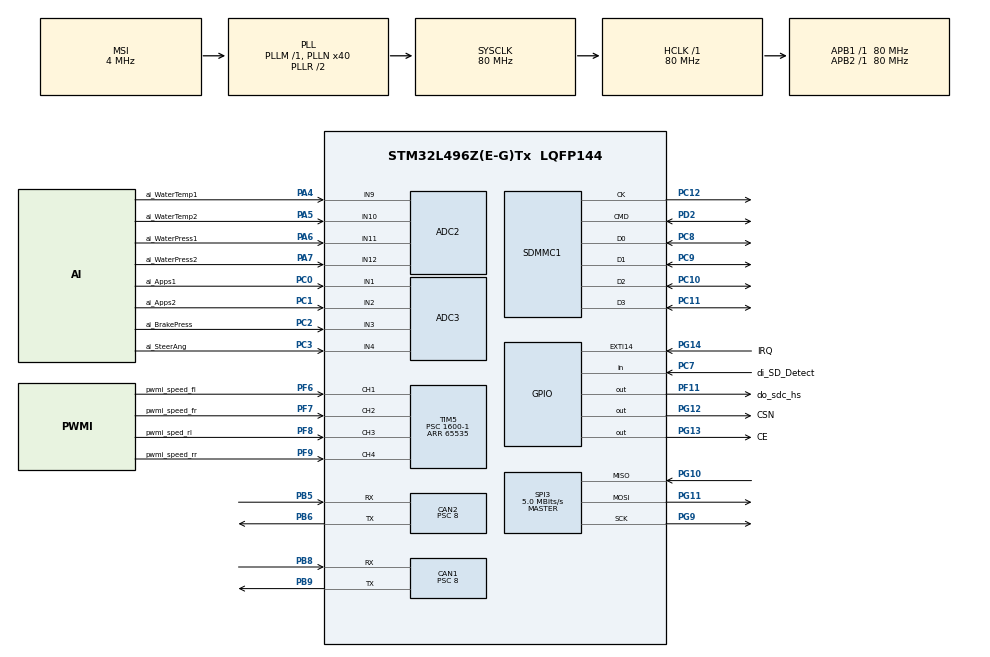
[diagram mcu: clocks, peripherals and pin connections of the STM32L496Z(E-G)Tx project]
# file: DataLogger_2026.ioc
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ADC2.Channel-0\#ChannelRegularConversion=ADC_CHANNEL_9
ADC2.Channel-1\#ChannelRegularConversion=ADC_CHANNEL_9
ADC2.Channel-2\#ChannelRegularConversion=ADC_CHANNEL_9
ADC2.Channel-3\#ChannelRegularConversion=ADC_CHANNEL_9
ADC2.ClockPrescaler=ADC_CLOCK_ASYNC_DIV2
ADC2.DMAContinuousRequests=ENABLE
ADC2.ExternalTrigConv=ADC_EXTERNALTRIG_T2_TRGO
ADC2.NbrOfConversion=4
ADC2.NbrOfConversionFlag=1
ADC2.OffsetNumber-0\#ChannelRegularConversion=ADC_OFFSET_NONE
ADC2.OffsetNumber-1\#ChannelRegularConversion=ADC_OFFSET_NONE
ADC2.OffsetNumber-2\#ChannelRegularConversion=ADC_OFFSET_NONE
ADC2.OffsetNumber-3\#ChannelRegularConversion=ADC_OFFSET_NONE
ADC2.Rank-0\#ChannelRegularConversion=1
ADC2.Rank-1\#ChannelRegularConversion=2
ADC2.Rank-2\#ChannelRegularConversion=3
ADC2.Rank-3\#ChannelRegularConversion=4
ADC2.SamplingTime-0\#ChannelRegularConversion=ADC_SAMPLETIME_2CYCLES_5
ADC2.SamplingTime-1\#ChannelRegularConversion=ADC_SAMPLETIME_2CYCLES_5
ADC2.SamplingTime-2\#ChannelRegularConversion=ADC_SAMPLETIME_2CYCLES_5
ADC2.SamplingTime-3\#ChannelRegularConversion=ADC_SAMPLETIME_2CYCLES_5
ADC3.Channel-0\#ChannelRegularConversion=ADC_CHANNEL_1
ADC3.Channel-1\#ChannelRegularConversion=ADC_CHANNEL_1
ADC3.Channel-2\#ChannelRegularConversion=ADC_CHANNEL_1
ADC3.Channel-3\#ChannelRegularConversion=ADC_CHANNEL_1
ADC3.ClockPrescaler=ADC_CLOCK_ASYNC_DIV2
ADC3.DMAContinuousRequests=ENABLE
ADC3.ExternalTrigConv=ADC_EXTERNALTRIG_T2_TRGO
ADC3.NbrOfConversion=4
ADC3.NbrOfConversionFlag=1
ADC3.OffsetNumber-0\#ChannelRegularConversion=ADC_OFFSET_NONE
ADC3.OffsetNumber-1\#ChannelRegularConversion=ADC_OFFSET_NONE
ADC3.OffsetNumber-2\#ChannelRegularConversion=ADC_OFFSET_NONE
ADC3.OffsetNumber-3\#ChannelRegularConversion=ADC_OFFSET_NONE
ADC3.Rank-0\#ChannelRegularConversion=1
ADC3.Rank-1\#ChannelRegularConversion=2
ADC3.Rank-2\#ChannelRegularConversion=3
ADC3.Rank-3\#ChannelRegularConversion=4
ADC3.SamplingTime-0\#ChannelRegularConversion=ADC_SAMPLETIME_2CYCLES_5
ADC3.SamplingTime-1\#ChannelRegularConversion=ADC_SAMPLETIME_2CYCLES_5
ADC3.SamplingTime-2\#ChannelRegularConversion=ADC_SAMPLETIME_2CYCLES_5
ADC3.SamplingTime-3\#ChannelRegularConversion=ADC_SAMPLETIME_2CYCLES_5
CAN1.BS1=CAN_BS1_11TQ
CAN1.BS2=CAN_BS2_8TQ
CAN1.CalculateBaudRate=500000
CAN1.CalculateTimeBit=2000
CAN1.CalculateTimeQuantum=100.0
CAN1.Prescaler=8
CAN2.BS1=CAN_BS1_11TQ
CAN2.BS2=CAN_BS2_8TQ
CAN2.CalculateBaudRate=500000
CAN2.CalculateTimeBit=2000
CAN2.CalculateTimeQuantum=100.0
CAN2.Prescaler=8
Dma.ADC2.0.Direction=DMA_PERIPH_TO_MEMORY
Dma.ADC2.0.Instance=DMA1_Channel2
Dma.ADC2.0.MemDataAlignment=DMA_MDATAALIGN_WORD
Dma.ADC2.0.MemInc=DMA_MINC_ENABLE
Dma.ADC2.0.Mode=DMA_CIRCULAR
Dma.ADC2.0.PeriphDataAlignment=DMA_PDATAALIGN_WORD
Dma.ADC2.0.PeriphInc=DMA_PINC_DISABLE
Dma.ADC2.0.Priority=DMA_PRIORITY_LOW
Dma.ADC3.1.Direction=DMA_PERIPH_TO_MEMORY
Dma.ADC3.1.Instance=DMA1_Channel3
Dma.ADC3.1.MemDataAlignment=DMA_MDATAALIGN_WORD
Dma.ADC3.1.MemInc=DMA_MINC_ENABLE
Dma.ADC3.1.Mode=DMA_NORMAL
Dma.ADC3.1.PeriphDataAlignment=DMA_PDATAALIGN_WORD
Dma.ADC3.1.PeriphInc=DMA_PINC_DISABLE
Dma.ADC3.1.Priority=DMA_PRIORITY_LOW
Dma.Request0=ADC2
Dma.Request1=ADC3
FATFS.BSP.number=1
FATFS._MAX_SS=4096
FATFS._MIN_SS=512
FATFS0.BSP.STBoard=false
FATFS0.BSP.api=Unknown
FATFS0.BSP.instance=PC7
FATFS0.BSP.ip=GPIO
FATFS0.BSP.mode=Input
FATFS0.BSP.name=Detect_SDIO
FATFS0.BSP.solution=PC7
FREERTOS.Tasks01=defaultTask,24,128,StartDefaultTask,Default,NULL,Dynamic,NULL,NULL
FREERTOS.configUSE_NEWLIB_REENTRANT=1
Mcu.Family=STM32L4
Mcu.Name=STM32L496Z(E-G)Tx
Mcu.Package=LQFP144
NVIC.CAN1_RX0_IRQn=true\:5\:0\:false\:false\:true\:true\:true\:true\:true
NVIC.CAN2_RX1_IRQn=true\:5\:0\:false\:false\:true\:true\:true\:true\:true
NVIC.DMA1_Channel2_IRQn=true\:5\:0\:false\:false\:true\:true\:false\:true\:true
NVIC.DMA1_Channel3_IRQn=true\:5\:0\:false\:false\:true\:true\:false\:true\:true
NVIC.EXTI15_10_IRQn=true\:5\:0\:false\:false\:true\:true\:true\:true\:true
NVIC.PriorityGroup=NVIC_PRIORITYGROUP_4
NVIC.TIM1_BRK_TIM15_IRQn=true\:5\:0\:false\:false\:true\:true\:true\:true\:true
NVIC.TIM5_IRQn=true\:5\:0\:false\:false\:true\:true\:true\:true\:true
NVIC.TIM8_UP_IRQn=true\:5\:0\:false\:false\:true\:true\:true\:true\:true
PA13\ (JTMS/SWDIO).Mode=Serial_Wire
PA13\ (JTMS/SWDIO).Signal=SYS_JTMS-SWDIO
PA14\ (JTCK/SWCLK).Mode=Serial_Wire
PA14\ (JTCK/SWCLK).Signal=SYS_JTCK-SWCLK
PA4.GPIO_Label=ai_WaterTemp1
PA4.Signal=ADCx_IN9
PA5.GPIO_Label=ai_WaterTemp2
PA5.Signal=ADCx_IN10
PA6.GPIO_Label=ai_WaterPress1
PA6.Signal=ADCx_IN11
PA7.GPIO_Label=ai_WaterPress2
PA7.Signal=ADCx_IN12
PB5.Mode=CAN_Activate
PB5.Signal=CAN2_RX
PB6.Mode=CAN_Activate
PB6.Signal=CAN2_TX
PB8.Mode=CAN_Activate
PB8.Signal=CAN1_RX
PB9.Mode=CAN_Activate
PB9.Signal=CAN1_TX
PC0.GPIO_Label=ai_Apps1
PC0.Signal=ADCx_IN1
PC1.GPIO_Label=ai_Apps2
PC1.Signal=ADCx_IN2
PC10.Mode=SD_4_bits_Wide_bus
PC10.Signal=SDMMC1_D2
PC11.Mode=SD_4_bits_Wide_bus
PC11.Signal=SDMMC1_D3
PC12.Mode=SD_4_bits_Wide_bus
PC12.Signal=SDMMC1_CK
PC14-OSC32_IN\ (PC14).Mode=LSE-External-Oscillator
PC14-OSC32_IN\ (PC14).Signal=RCC_OSC32_IN
PC15-OSC32_OUT\ (PC15).Mode=LSE-External-Oscillator
PC15-OSC32_OUT\ (PC15).Signal=RCC_OSC32_OUT
PC2.GPIO_Label=ai_BrakePress
PC2.Signal=ADCx_IN3
PC3.GPIO_Label=ai_SteerAng
PC3.Signal=ADCx_IN4
PC7.GPIO_Label=di_SD_Detect
PC7.Signal=GPIO_Input
PC8.Mode=SD_4_bits_Wide_bus
PC8.Signal=SDMMC1_D0
PC9.Mode=SD_4_bits_Wide_bus
PC9.Signal=SDMMC1_D1
PD2.Mode=SD_4_bits_Wide_bus
PD2.Signal=SDMMC1_CMD
PF11.GPIO_Label=do_sdc_hs
PF11.Signal=GPIO_Output
PF6.GPIO_Label=pwmi_speed_fl
PF6.Signal=S_TIM5_CH1
PF7.GPIO_Label=pwmi_speed_fr
PF7.Signal=S_TIM5_CH2
PF8.GPIO_Label=pwmi_sped_rl
PF8.Signal=S_TIM5_CH3
PF9.GPIO_Label=pwmi_speed_rr
PF9.Signal=S_TIM5_CH4
PG10.Mode=Full_Duplex_Master
PG10.Signal=SPI3_MISO
PG11.Mode=Full_Duplex_Master
PG11.Signal=SPI3_MOSI
PG12.GPIO_Label=CSN
PG12.Signal=GPIO_Output
PG13.GPIO_Label=CE
PG13.Signal=GPIO_Output
PG14.GPIO_Label=IRQ
PG14.Signal=GPXTI14
PG9.Mode=Full_Duplex_Master
PG9.Signal=SPI3_SCK
ProjectManager.HeapSize=0x200
ProjectManager.StackSize=0x400
ProjectManager.TargetToolchain=STM32CubeIDE
RCC.ADCFreq_Value=32000000
RCC.AHBFreq_Value=80000000
RCC.APB1Freq_Value=80000000
RCC.APB1TimFreq_Value=80000000
RCC.APB2Freq_Value=80000000
RCC.APB2TimFreq_Value=80000000
RCC.CortexFreq_Value=80000000
RCC.HCLKFreq_Value=80000000
RCC.HSE_VALUE=8000000
RCC.HSI48_VALUE=48000000
RCC.HSI_VALUE=16000000
RCC.MSI_VALUE=4000000
RCC.PLLN=40
RCC.PLLSAI1N=16
RCC.SYSCLKFreq_VALUE=80000000
RCC.SYSCLKSource=RCC_SYSCLKSOURCE_PLLCLK
RCC.USBFreq_Value=32000000
RCC.VCOOutputFreq_Value=160000000
SDMMC1.ClockDiv=64
SH.ADCx_IN1.0=ADC3_IN1,IN1-Single-Ended
SH.ADCx_IN10.0=ADC2_IN10,IN10-Single-Ended
SH.ADCx_IN11.0=ADC2_IN11,IN11-Single-Ended
SH.ADCx_IN12.0=ADC2_IN12,IN12-Single-Ended
SH.ADCx_IN2.0=ADC3_IN2,IN2-Single-Ended
SH.ADCx_IN3.0=ADC3_IN3,IN3-Single-Ended
SH.ADCx_IN4.0=ADC3_IN4,IN4-Single-Ended
SH.ADCx_IN9.0=ADC2_IN9,IN9-Single-Ended
SH.S_TIM5_CH1.0=TIM5_CH1,Input_Capture1_from_TI1
SH.S_TIM5_CH2.0=TIM5_CH2,Input_Capture2_from_TI2
SH.S_TIM5_CH3.0=TIM5_CH3,Input_Capture3_from_TI3
SH.S_TIM5_CH4.0=TIM5_CH4,Input_Capture4_from_TI4
SPI3.BaudRatePrescaler=SPI_BAUDRATEPRESCALER_16
SPI3.CalculateBaudRate=5.0 MBits/s
SPI3.DataSize=SPI_DATASIZE_8BIT
SPI3.Direction=SPI_DIRECTION_2LINES
SPI3.Mode=SPI_MODE_MASTER
SPI3.VirtualType=VM_MASTER
TIM15.Period=10000-1
TIM15.Prescaler=8000-1
TIM16.Prescaler=80-1
TIM17.Prescaler=40000-1
TIM2.Period=1000-1
TIM2.Prescaler=4000-1
TIM5.Channel-Input_Capture1_from_TI1=TIM_CHANNEL_1
TIM5.Channel-Input_Capture2_from_TI2=TIM_CHANNEL_2
TIM5.Channel-Input_Capture3_from_TI3=TIM_CHANNEL_3
TIM5.Channel-Input_Capture4_from_TI4=TIM_CHANNEL_4
TIM5.Period=65535
TIM5.Prescaler=1600-1
TIM8.Period=8000-1
TIM8.Prescaler=100-1
VP_FATFS_VS_SDIO.Mode=SDIO
VP_FREERTOS_VS_CMSIS_V2.Mode=CMSIS_V2
VP_SYS_V_VREFBUF.Mode=ExternalMode
VP_TIM15_VS_ClockSourceINT.Mode=Internal
VP_TIM16_VS_ClockSourceINT.Mode=Enable_Timer
VP_TIM17_VS_ClockSourceINT.Mode=Enable_Timer
VP_TIM2_VS_ClockSourceINT.Mode=Internal
VP_TIM5_VS_ClockSourceINT.Mode=Internal
VP_TIM8_VS_ClockSourceINT.Mode=Internal
board=custom

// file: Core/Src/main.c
/* USER CODE BEGIN Header */
/**
  ******************************************************************************
  * @file           : main.c
  * @brief          : Main program body
  ******************************************************************************
  * @attention
  *
  * Copyright (c) 2025 STMicroelectronics.
  * All rights reserved.
  *
  * This software is licensed under terms that can be found in the LICENSE file
  * in the root directory of this software component.
  * If no LICENSE file comes with this software, it is provided AS-IS.
  *
  ******************************************************************************
  */
/* USER CODE END Header */
#include "main.h"
#include "cmsis_os.h"
#include "fatfs.h"

/* USER CODE BEGIN Includes */
#include "SDCardUtils.h"
#include <math.h>
#include "string.h"
#include "CanFactory.h"
#include "nrf.h"
/* USER CODE END Includes */

/* USER CODE BEGIN PTD */

typedef struct {
	uint32_t raw;
	float voltage;
	float value;
} adc_data;

/* USER CODE END PTD */

ADC_HandleTypeDef hadc2;
ADC_HandleTypeDef hadc3;
DMA_HandleTypeDef hdma_adc2;
DMA_HandleTypeDef hdma_adc3;

CAN_HandleTypeDef hcan1;
CAN_HandleTypeDef hcan2;

SD_HandleTypeDef hsd1;

SPI_HandleTypeDef hspi3;

TIM_HandleTypeDef htim2;
TIM_HandleTypeDef htim5;
TIM_HandleTypeDef htim8;
TIM_HandleTypeDef htim15;
TIM_HandleTypeDef htim16;
TIM_HandleTypeDef htim17;

/* Definitions for defaultTask */
osThreadId_t defaultTaskHandle;
const osThreadAttr_t defaultTask_attributes = {
  .name = "defaultTask",
  .stack_size = 128 * 4,
  .priority = (osPriority_t) osPriorityNormal,
};
/* USER CODE BEGIN PV */

/* Definitions for loggingTask */
osThreadId_t loggingTaskHandle;
const osThreadAttr_t loggingTask_attributes = {
  .name = "loggingTask",
  .stack_size = 1024 * 4,
  .priority = (osPriority_t) osPriorityNormal,
};

/* Definitions for nrfTask */
osThreadId_t nrfTaskHandle;
const osThreadAttr_t nrfTask_attributes = {
  .name = "nrfTask",
  .stack_size = 512 * 4,
  .priority = (osPriority_t) osPriorityNormal,
};

uint16_t time_elapsed = 0;
uint8_t rf_payload[32] = { 0 };

FATFS fs;
FIL fil;
char logFileName[32];
FRESULT loggingRes = FR_NOT_READY;
uint8_t loggingStarted = 0;
uint8_t sdPresent = 0;
uint8_t writeErrorCounter = 0;

uint64_t secondsCounter = 0;

const float vrefCoef = 3.3f / 4096;

uint32_t adc_buff1[4] = { 0 };
uint32_t adc_buff2[4] = { 0 };

const float Res1 = 4700.0;
const float InputVoltage = 5.0f;
const float WaterTemp_COEFICIENT = -30.49;
const float WaterTemp_VACANT_MEMBER = 258.39;

// Cooling system
adc_data watterTemp1;
adc_data watterTemp2;
adc_data watterPress1;
adc_data watterPress2;

// Gas pedal
adc_data apps1;
adc_data apps2;

adc_data brakePress;
adc_data stearingAng;

// Speed sensors
float speed_fr = 0;
float speed_fl = 0;
float speed_rr = 0;
float speed_rl = 0;

// Batteries
float maxHvCellTemp = 0;
float minHvCellVoltage = 0;
float hvVoltage = 0;
float maxLvCellTemp = 0;
float minLvCellVoltage = 0;
float lvVoltage = 0;

float hv_cells[96];
float hv_current = 0;

// AIR-s
uint32_t AIRpRaw = 0;
uint8_t AIRpPos = 0;
uint32_t AIRmRaw = 0;
uint8_t AIRmPos = 0;

// GPS
float latitude = 0;
float longitude = 0;
float altitude = 0;
float gpsSpeed = 0;
float heading = 0; // To kam si obrnjen
float directon = 0; // To kam greš

// Suspension
float bellCrankFR = 0;
float bellCrankFL = 0;
float bellCrankRR = 0;
float bellCrankRL = 0;

// IMU
float accel_x = 0;
float accel_y = 0;
float accel_z = 0;
float gyro_x = 0;
float gyro_y = 0;
float gyro_z = 0;

// Inverter
float motorTemp = 0;
float inverterTemp = 0;

uint16_t loggingCounter = 0;
uint8_t dashSentCounter = 0;
uint8_t logAIRs = 1;
uint8_t logHV_Cells = 1;

int maxErr = 0;
uint8_t logNext = 0;

/* USER CODE END PV */

void SystemClock_Config(void);
void PeriphCommonClock_Config(void);
static void MX_GPIO_Init(void);
static void MX_DMA_Init(void);
static void MX_TIM2_Init(void);
static void MX_TIM5_Init(void);
static void MX_TIM8_Init(void);
static void MX_TIM15_Init(void);
static void MX_TIM16_Init(void);
static void MX_ADC2_Init(void);
static void MX_CAN1_Init(void);
static void MX_CAN2_Init(void);
static void MX_SDMMC1_SD_Init(void);
static void MX_SPI3_Init(void);
static void MX_TIM17_Init(void);
static void MX_ADC3_Init(void);
void StartDefaultTask(void *argument);
void StartLoggingTask(void *argument);
void StartNRFTask(void *argument);

int main(void)
{

  /* MCU Configuration--------------------------------------------------------*/

  /* Reset of all peripherals, Initializes the Flash interface and the Systick. */
  HAL_Init();

  /* Configure the system clock */
  SystemClock_Config();

  /* Configure the peripherals common clocks */
  PeriphCommonClock_Config();

  /* Initialize all configured peripherals */
  MX_GPIO_Init();
  MX_DMA_Init();
  MX_TIM2_Init();
  MX_TIM5_Init();
  MX_TIM8_Init();
  MX_TIM15_Init();
  MX_TIM16_Init();
  MX_ADC2_Init();
  MX_CAN1_Init();
  MX_CAN2_Init();
  MX_SDMMC1_SD_Init();
  MX_SPI3_Init();
  MX_FATFS_Init();
  MX_TIM17_Init();
  MX_ADC3_Init();
  /* USER CODE BEGIN 2 */
  HAL_TIM_Base_Start(&htim2);
  HAL_ADCEx_Calibration_Start(&hadc2, ADC_SINGLE_ENDED);
  HAL_ADCEx_Calibration_Start(&hadc3, ADC_SINGLE_ENDED);
  HAL_ADC_Start_DMA(&hadc2, adc_buff1, 4);
  HAL_ADC_Start_DMA(&hadc3, adc_buff2, 4);

  if (HAL_CAN_Start(&hcan1) != HAL_OK) {
    Error_Handler();
  }
  if (HAL_CAN_Start(&hcan2) != HAL_OK) {
    Error_Handler();
  }
  if (HAL_CAN_ActivateNotification(&hcan1, CAN_IT_RX_FIFO0_MSG_PENDING)
      != HAL_OK) {
    Error_Handler();
  }
  if (HAL_CAN_ActivateNotification(&hcan2, CAN_IT_RX_FIFO1_MSG_PENDING)
      != HAL_OK) {
    Error_Handler();
  }

  TIM15->SR &= ~(1 << 0);
  HAL_TIM_Base_Start_IT(&htim15);
  TIM8->SR &= ~(1 << 0);
  HAL_TIM_Base_Start_IT(&htim8);

  loggingRes = initLogging(logFileName, &fs);
  if (loggingRes == FR_OK) {
    loggingStarted = 1;
  }

  HAL_Delay(3000);
  HAL_TIM_Base_Start(&htim16);
  HAL_TIM_Base_Start(&htim17);
  HAL_GPIO_WritePin(GPIOG, CE_Pin, GPIO_PIN_RESET);
  HAL_GPIO_WritePin(GPIOG, CSN_Pin, GPIO_PIN_SET);

  NRF_Write(0x01, 0x00); //Disable Auto Acknowledge for every data pipe
  NRF_Write(0x04, 0x00); //Disable retransmissions of packets
  NRF_Write(0x00, 0x5a); //Mask interrupt RX_DR and MAX_RT, go in POWER UP and set module in TX mode
  HAL_Delay(2);

  FLUSH_TX();
  Clear_TX_DS_flag();
  Clear_MAX_RT_flag();
  TIM17->CNT = 5001;

  /* USER CODE END 2 */

  /* Init scheduler */
  osKernelInitialize();

  /* Create the thread(s) */
  /* creation of defaultTask */
  defaultTaskHandle = osThreadNew(StartDefaultTask, NULL, &defaultTask_attributes);

  /* USER CODE BEGIN RTOS_THREADS */
  /* add threads, ... */
  loggingTaskHandle = osThreadNew(StartLoggingTask, NULL, &loggingTask_attributes);
  nrfTaskHandle = osThreadNew(StartNRFTask, NULL, &nrfTask_attributes);
  /* USER CODE END RTOS_THREADS */

  /* Start scheduler */
  osKernelStart();

  /* We should never get here as control is now taken by the scheduler */

  /* Infinite loop */
  while (1)
  {

  }
}

void SystemClock_Config(void)
{
  RCC_OscInitTypeDef RCC_OscInitStruct = {0};
  RCC_ClkInitTypeDef RCC_ClkInitStruct = {0};

  /** Configure the main internal regulator output voltage
  */
  if (HAL_PWREx_ControlVoltageScaling(PWR_REGULATOR_VOLTAGE_SCALE1) != HAL_OK)
  {
    Error_Handler();
  }

  /** Initializes the RCC Oscillators according to the specified parameters
  * in the RCC_OscInitTypeDef structure.
  */
  RCC_OscInitStruct.OscillatorType = RCC_OSCILLATORTYPE_MSI;
  RCC_OscInitStruct.MSIState = RCC_MSI_ON;
  RCC_OscInitStruct.MSICalibrationValue = 0;
  RCC_OscInitStruct.MSIClockRange = RCC_MSIRANGE_6;
  RCC_OscInitStruct.PLL.PLLState = RCC_PLL_ON;
  RCC_OscInitStruct.PLL.PLLSource = RCC_PLLSOURCE_MSI;
  RCC_OscInitStruct.PLL.PLLM = 1;
  RCC_OscInitStruct.PLL.PLLN = 40;
  RCC_OscInitStruct.PLL.PLLP = RCC_PLLP_DIV2;
  RCC_OscInitStruct.PLL.PLLQ = RCC_PLLQ_DIV2;
  RCC_OscInitStruct.PLL.PLLR = RCC_PLLR_DIV2;
  if (HAL_RCC_OscConfig(&RCC_OscInitStruct) != HAL_OK)
  {
    Error_Handler();
  }

  /** Initializes the CPU, AHB and APB buses clocks
  */
  RCC_ClkInitStruct.ClockType = RCC_CLOCKTYPE_HCLK|RCC_CLOCKTYPE_SYSCLK
                              |RCC_CLOCKTYPE_PCLK1|RCC_CLOCKTYPE_PCLK2;
  RCC_ClkInitStruct.SYSCLKSource = RCC_SYSCLKSOURCE_PLLCLK;
  RCC_ClkInitStruct.AHBCLKDivider = RCC_SYSCLK_DIV1;
  RCC_ClkInitStruct.APB1CLKDivider = RCC_HCLK_DIV1;
  RCC_ClkInitStruct.APB2CLKDivider = RCC_HCLK_DIV1;

  if (HAL_RCC_ClockConfig(&RCC_ClkInitStruct, FLASH_LATENCY_4) != HAL_OK)
  {
    Error_Handler();
  }
}

void PeriphCommonClock_Config(void)
{
  RCC_PeriphCLKInitTypeDef PeriphClkInit = {0};

  /** Initializes the peripherals clock
  */
  PeriphClkInit.PeriphClockSelection = RCC_PERIPHCLK_SDMMC1|RCC_PERIPHCLK_ADC;
  PeriphClkInit.AdcClockSelection = RCC_ADCCLKSOURCE_PLLSAI1;
  PeriphClkInit.Sdmmc1ClockSelection = RCC_SDMMC1CLKSOURCE_PLLSAI1;
  PeriphClkInit.PLLSAI1.PLLSAI1Source = RCC_PLLSOURCE_MSI;
  PeriphClkInit.PLLSAI1.PLLSAI1M = 1;
  PeriphClkInit.PLLSAI1.PLLSAI1N = 16;
  PeriphClkInit.PLLSAI1.PLLSAI1P = RCC_PLLP_DIV2;
  PeriphClkInit.PLLSAI1.PLLSAI1Q = RCC_PLLQ_DIV2;
  PeriphClkInit.PLLSAI1.PLLSAI1R = RCC_PLLR_DIV2;
  PeriphClkInit.PLLSAI1.PLLSAI1ClockOut = RCC_PLLSAI1_48M2CLK|RCC_PLLSAI1_ADC1CLK;
  if (HAL_RCCEx_PeriphCLKConfig(&PeriphClkInit) != HAL_OK)
  {
    Error_Handler();
  }
}

static void MX_ADC2_Init(void)
{

  ADC_ChannelConfTypeDef sConfig = {0};

  /** Common config
  */
  hadc2.Instance = ADC2;
  hadc2.Init.ClockPrescaler = ADC_CLOCK_ASYNC_DIV2;
  hadc2.Init.Resolution = ADC_RESOLUTION_12B;
  hadc2.Init.DataAlign = ADC_DATAALIGN_RIGHT;
  hadc2.Init.ScanConvMode = ADC_SCAN_ENABLE;
  hadc2.Init.EOCSelection = ADC_EOC_SINGLE_CONV;
  hadc2.Init.LowPowerAutoWait = DISABLE;
  hadc2.Init.ContinuousConvMode = DISABLE;
  hadc2.Init.NbrOfConversion = 4;
  hadc2.Init.DiscontinuousConvMode = DISABLE;
  hadc2.Init.ExternalTrigConv = ADC_EXTERNALTRIG_T2_TRGO;
  hadc2.Init.ExternalTrigConvEdge = ADC_EXTERNALTRIGCONVEDGE_RISING;
  hadc2.Init.DMAContinuousRequests = ENABLE;
  hadc2.Init.Overrun = ADC_OVR_DATA_PRESERVED;
  hadc2.Init.OversamplingMode = DISABLE;
  if (HAL_ADC_Init(&hadc2) != HAL_OK)
  {
    Error_Handler();
  }

  /** Configure Regular Channel
  */
  sConfig.Channel = ADC_CHANNEL_9;
  sConfig.Rank = ADC_REGULAR_RANK_1;
  sConfig.SamplingTime = ADC_SAMPLETIME_2CYCLES_5;
  sConfig.SingleDiff = ADC_SINGLE_ENDED;
  sConfig.OffsetNumber = ADC_OFFSET_NONE;
  sConfig.Offset = 0;
  if (HAL_ADC_ConfigChannel(&hadc2, &sConfig) != HAL_OK)
  {
    Error_Handler();
  }

  /** Configure Regular Channel
  */
  sConfig.Rank = ADC_REGULAR_RANK_2;
  if (HAL_ADC_ConfigChannel(&hadc2, &sConfig) != HAL_OK)
  {
    Error_Handler();
  }

  /** Configure Regular Channel
  */
  sConfig.Rank = ADC_REGULAR_RANK_3;
  if (HAL_ADC_ConfigChannel(&hadc2, &sConfig) != HAL_OK)
  {
    Error_Handler();
  }

  /** Configure Regular Channel
  */
  sConfig.Rank = ADC_REGULAR_RANK_4;
  if (HAL_ADC_ConfigChannel(&hadc2, &sConfig) != HAL_OK)
  {
    Error_Handler();
  }

}

static void MX_ADC3_Init(void)
{

  ADC_ChannelConfTypeDef sConfig = {0};

  /** Common config
  */
  hadc3.Instance = ADC3;
  hadc3.Init.ClockPrescaler = ADC_CLOCK_ASYNC_DIV2;
  hadc3.Init.Resolution = ADC_RESOLUTION_12B;
  hadc3.Init.DataAlign = ADC_DATAALIGN_RIGHT;
  hadc3.Init.ScanConvMode = ADC_SCAN_ENABLE;
  hadc3.Init.EOCSelection = ADC_EOC_SINGLE_CONV;
  hadc3.Init.LowPowerAutoWait = DISABLE;
  hadc3.Init.ContinuousConvMode = DISABLE;
  hadc3.Init.NbrOfConversion = 4;
  hadc3.Init.DiscontinuousConvMode = DISABLE;
  hadc3.Init.ExternalTrigConv = ADC_EXTERNALTRIG_T2_TRGO;
  hadc3.Init.ExternalTrigConvEdge = ADC_EXTERNALTRIGCONVEDGE_RISING;
  hadc3.Init.DMAContinuousRequests = ENABLE;
  hadc3.Init.Overrun = ADC_OVR_DATA_PRESERVED;
  hadc3.Init.OversamplingMode = DISABLE;
  if (HAL_ADC_Init(&hadc3) != HAL_OK)
  {
    Error_Handler();
  }

  /** Configure Regular Channel
  */
  sConfig.Channel = ADC_CHANNEL_1;
  sConfig.Rank = ADC_REGULAR_RANK_1;
  sConfig.SamplingTime = ADC_SAMPLETIME_2CYCLES_5;
  sConfig.SingleDiff = ADC_SINGLE_ENDED;
  sConfig.OffsetNumber = ADC_OFFSET_NONE;
  sConfig.Offset = 0;
  if (HAL_ADC_ConfigChannel(&hadc3, &sConfig) != HAL_OK)
  {
    Error_Handler();
  }

  /** Configure Regular Channel
  */
  sConfig.Rank = ADC_REGULAR_RANK_2;
  if (HAL_ADC_ConfigChannel(&hadc3, &sConfig) != HAL_OK)
  {
    Error_Handler();
  }

  /** Configure Regular Channel
  */
  sConfig.Rank = ADC_REGULAR_RANK_3;
  if (HAL_ADC_ConfigChannel(&hadc3, &sConfig) != HAL_OK)
  {
    Error_Handler();
  }

  /** Configure Regular Channel
  */
  sConfig.Rank = ADC_REGULAR_RANK_4;
  if (HAL_ADC_ConfigChannel(&hadc3, &sConfig) != HAL_OK)
  {
    Error_Handler();
  }

}

static void MX_CAN1_Init(void)
{

  hcan1.Instance = CAN1;
  hcan1.Init.Prescaler = 8;
  hcan1.Init.Mode = CAN_MODE_NORMAL;
  hcan1.Init.SyncJumpWidth = CAN_SJW_1TQ;
  hcan1.Init.TimeSeg1 = CAN_BS1_11TQ;
  hcan1.Init.TimeSeg2 = CAN_BS2_8TQ;
  hcan1.Init.TimeTriggeredMode = DISABLE;
  hcan1.Init.AutoBusOff = DISABLE;
  hcan1.Init.AutoWakeUp = DISABLE;
  hcan1.Init.AutoRetransmission = DISABLE;
  hcan1.Init.ReceiveFifoLocked = DISABLE;
  hcan1.Init.TransmitFifoPriority = DISABLE;
  if (HAL_CAN_Init(&hcan1) != HAL_OK)
  {
    Error_Handler();
  }

}

static void MX_CAN2_Init(void)
{

  hcan2.Instance = CAN2;
  hcan2.Init.Prescaler = 8;
  hcan2.Init.Mode = CAN_MODE_NORMAL;
  hcan2.Init.SyncJumpWidth = CAN_SJW_1TQ;
  hcan2.Init.TimeSeg1 = CAN_BS1_11TQ;
  hcan2.Init.TimeSeg2 = CAN_BS2_8TQ;
  hcan2.Init.TimeTriggeredMode = DISABLE;
  hcan2.Init.AutoBusOff = DISABLE;
  hcan2.Init.AutoWakeUp = DISABLE;
  hcan2.Init.AutoRetransmission = DISABLE;
  hcan2.Init.ReceiveFifoLocked = DISABLE;
  hcan2.Init.TransmitFifoPriority = DISABLE;
  if (HAL_CAN_Init(&hcan2) != HAL_OK)
  {
    Error_Handler();
  }

}

static void MX_SDMMC1_SD_Init(void)
{

  hsd1.Instance = SDMMC1;
  hsd1.Init.ClockEdge = SDMMC_CLOCK_EDGE_RISING;
  hsd1.Init.ClockBypass = SDMMC_CLOCK_BYPASS_DISABLE;
  hsd1.Init.ClockPowerSave = SDMMC_CLOCK_POWER_SAVE_DISABLE;
  hsd1.Init.BusWide = SDMMC_BUS_WIDE_4B;
  hsd1.Init.HardwareFlowControl = SDMMC_HARDWARE_FLOW_CONTROL_DISABLE;
  hsd1.Init.ClockDiv = 64;

}

static void MX_SPI3_Init(void)
{

  /* SPI3 parameter configuration*/
  hspi3.Instance = SPI3;
  hspi3.Init.Mode = SPI_MODE_MASTER;
  hspi3.Init.Direction = SPI_DIRECTION_2LINES;
  hspi3.Init.DataSize = SPI_DATASIZE_8BIT;
  hspi3.Init.CLKPolarity = SPI_POLARITY_LOW;
  hspi3.Init.CLKPhase = SPI_PHASE_1EDGE;
  hspi3.Init.NSS = SPI_NSS_SOFT;
  hspi3.Init.BaudRatePrescaler = SPI_BAUDRATEPRESCALER_16;
  hspi3.Init.FirstBit = SPI_FIRSTBIT_MSB;
  hspi3.Init.TIMode = SPI_TIMODE_DISABLE;
  hspi3.Init.CRCCalculation = SPI_CRCCALCULATION_DISABLE;
  hspi3.Init.CRCPolynomial = 7;
  hspi3.Init.CRCLength = SPI_CRC_LENGTH_DATASIZE;
  hspi3.Init.NSSPMode = SPI_NSS_PULSE_ENABLE;
  if (HAL_SPI_Init(&hspi3) != HAL_OK)
  {
    Error_Handler();
  }

}

static void MX_TIM2_Init(void)
{

  TIM_ClockConfigTypeDef sClockSourceConfig = {0};
  TIM_MasterConfigTypeDef sMasterConfig = {0};

  htim2.Instance = TIM2;
  htim2.Init.Prescaler = 4000-1;
  htim2.Init.CounterMode = TIM_COUNTERMODE_UP;
  htim2.Init.Period = 1000-1;
  htim2.Init.ClockDivision = TIM_CLOCKDIVISION_DIV1;
  htim2.Init.AutoReloadPreload = TIM_AUTORELOAD_PRELOAD_DISABLE;
  if (HAL_TIM_Base_Init(&htim2) != HAL_OK)
  {
    Error_Handler();
  }
  sClockSourceConfig.ClockSource = TIM_CLOCKSOURCE_INTERNAL;
  if (HAL_TIM_ConfigClockSource(&htim2, &sClockSourceConfig) != HAL_OK)
  {
    Error_Handler();
  }
  sMasterConfig.MasterOutputTrigger = TIM_TRGO_RESET;
  sMasterConfig.MasterSlaveMode = TIM_MASTERSLAVEMODE_DISABLE;
  if (HAL_TIMEx_MasterConfigSynchronization(&htim2, &sMasterConfig) != HAL_OK)
  {
    Error_Handler();
  }

}

static void MX_TIM5_Init(void)
{

  TIM_ClockConfigTypeDef sClockSourceConfig = {0};
  TIM_MasterConfigTypeDef sMasterConfig = {0};
  TIM_IC_InitTypeDef sConfigIC = {0};

  htim5.Instance = TIM5;
  htim5.Init.Prescaler = 1600-1;
  htim5.Init.CounterMode = TIM_COUNTERMODE_UP;
  htim5.Init.Period = 65535;
  htim5.Init.ClockDivision = TIM_CLOCKDIVISION_DIV1;
  htim5.Init.AutoReloadPreload = TIM_AUTORELOAD_PRELOAD_DISABLE;
  if (HAL_TIM_Base_Init(&htim5) != HAL_OK)
  {
    Error_Handler();
  }
  sClockSourceConfig.ClockSource = TIM_CLOCKSOURCE_INTERNAL;
  if (HAL_TIM_ConfigClockSource(&htim5, &sClockSourceConfig) != HAL_OK)
  {
    Error_Handler();
  }
  if (HAL_TIM_IC_Init(&htim5) != HAL_OK)
  {
    Error_Handler();
  }
  sMasterConfig.MasterOutputTrigger = TIM_TRGO_RESET;
  sMasterConfig.MasterSlaveMode = TIM_MASTERSLAVEMODE_DISABLE;
  if (HAL_TIMEx_MasterConfigSynchronization(&htim5, &sMasterConfig) != HAL_OK)
  {
    Error_Handler();
  }
  sConfigIC.ICPolarity = TIM_INPUTCHANNELPOLARITY_RISING;
  sConfigIC.ICSelection = TIM_ICSELECTION_DIRECTTI;
  sConfigIC.ICPrescaler = TIM_ICPSC_DIV1;
  sConfigIC.ICFilter = 0;
  if (HAL_TIM_IC_ConfigChannel(&htim5, &sConfigIC, TIM_CHANNEL_1) != HAL_OK)
  {
    Error_Handler();
  }
  if (HAL_TIM_IC_ConfigChannel(&htim5, &sConfigIC, TIM_CHANNEL_2) != HAL_OK)
  {
    Error_Handler();
  }
  if (HAL_TIM_IC_ConfigChannel(&htim5, &sConfigIC, TIM_CHANNEL_3) != HAL_OK)
  {
    Error_Handler();
  }
  if (HAL_TIM_IC_ConfigChannel(&htim5, &sConfigIC, TIM_CHANNEL_4) != HAL_OK)
  {
    Error_Handler();
  }

}

static void MX_TIM8_Init(void)
{

  TIM_ClockConfigTypeDef sClockSourceConfig = {0};
  TIM_MasterConfigTypeDef sMasterConfig = {0};

  htim8.Instance = TIM8;
  htim8.Init.Prescaler = 100-1;
  htim8.Init.CounterMode = TIM_COUNTERMODE_UP;
  htim8.Init.Period = 8000-1;
  htim8.Init.ClockDivision = TIM_CLOCKDIVISION_DIV1;
  htim8.Init.RepetitionCounter = 0;
  htim8.Init.AutoReloadPreload = TIM_AUTORELOAD_PRELOAD_DISABLE;
  if (HAL_TIM_Base_Init(&htim8) != HAL_OK)
  {
    Error_Handler();
  }
  sClockSourceConfig.ClockSource = TIM_CLOCKSOURCE_INTERNAL;
  if (HAL_TIM_ConfigClockSource(&htim8, &sClockSourceConfig) != HAL_OK)
  {
    Error_Handler();
  }
  sMasterConfig.MasterOutputTrigger = TIM_TRGO_RESET;
  sMasterConfig.MasterOutputTrigger2 = TIM_TRGO2_RESET;
  sMasterConfig.MasterSlaveMode = TIM_MASTERSLAVEMODE_DISABLE;
  if (HAL_TIMEx_MasterConfigSynchronization(&htim8, &sMasterConfig) != HAL_OK)
  {
    Error_Handler();
  }

}

static void MX_TIM15_Init(void)
{

  TIM_ClockConfigTypeDef sClockSourceConfig = {0};
  TIM_MasterConfigTypeDef sMasterConfig = {0};

  htim15.Instance = TIM15;
  htim15.Init.Prescaler = 8000-1;
  htim15.Init.CounterMode = TIM_COUNTERMODE_UP;
  htim15.Init.Period = 10000-1;
  htim15.Init.ClockDivision = TIM_CLOCKDIVISION_DIV1;
  htim15.Init.RepetitionCounter = 0;
  htim15.Init.AutoReloadPreload = TIM_AUTORELOAD_PRELOAD_DISABLE;
  if (HAL_TIM_Base_Init(&htim15) != HAL_OK)
  {
    Error_Handler();
  }
  sClockSourceConfig.ClockSource = TIM_CLOCKSOURCE_INTERNAL;
  if (HAL_TIM_ConfigClockSource(&htim15, &sClockSourceConfig) != HAL_OK)
  {
    Error_Handler();
  }
  sMasterConfig.MasterOutputTrigger = TIM_TRGO_RESET;
  sMasterConfig.MasterSlaveMode = TIM_MASTERSLAVEMODE_DISABLE;
  if (HAL_TIMEx_MasterConfigSynchronization(&htim15, &sMasterConfig) != HAL_OK)
  {
    Error_Handler();
  }

}

static void MX_TIM16_Init(void)
{

  htim16.Instance = TIM16;
  htim16.Init.Prescaler = 80-1;
  htim16.Init.CounterMode = TIM_COUNTERMODE_UP;
  htim16.Init.Period = 65535;
  htim16.Init.ClockDivision = TIM_CLOCKDIVISION_DIV1;
  htim16.Init.RepetitionCounter = 0;
  htim16.Init.AutoReloadPreload = TIM_AUTORELOAD_PRELOAD_DISABLE;
  if (HAL_TIM_Base_Init(&htim16) != HAL_OK)
  {
    Error_Handler();
  }

}

static void MX_TIM17_Init(void)
{

  htim17.Instance = TIM17;
  htim17.Init.Prescaler = 40000-1;
  htim17.Init.CounterMode = TIM_COUNTERMODE_UP;
  htim17.Init.Period = 65535;
  htim17.Init.ClockDivision = TIM_CLOCKDIVISION_DIV1;
  htim17.Init.RepetitionCounter = 0;
  htim17.Init.AutoReloadPreload = TIM_AUTORELOAD_PRELOAD_DISABLE;
  if (HAL_TIM_Base_Init(&htim17) != HAL_OK)
  {
    Error_Handler();
  }

}

static void MX_DMA_Init(void)
{

  /* DMA controller clock enable */
  __HAL_RCC_DMA1_CLK_ENABLE();

  /* DMA interrupt init */
  /* DMA1_Channel2_IRQn interrupt configuration */
  HAL_NVIC_SetPriority(DMA1_Channel2_IRQn, 5, 0);
  HAL_NVIC_EnableIRQ(DMA1_Channel2_IRQn);
  /* DMA1_Channel3_IRQn interrupt configuration */
  HAL_NVIC_SetPriority(DMA1_Channel3_IRQn, 5, 0);
  HAL_NVIC_EnableIRQ(DMA1_Channel3_IRQn);

}

static void MX_GPIO_Init(void)
{
  GPIO_InitTypeDef GPIO_InitStruct = {0};

  /* GPIO Ports Clock Enable */
  __HAL_RCC_GPIOC_CLK_ENABLE();
  __HAL_RCC_GPIOF_CLK_ENABLE();
  __HAL_RCC_GPIOA_CLK_ENABLE();
  __HAL_RCC_GPIOD_CLK_ENABLE();
  __HAL_RCC_GPIOG_CLK_ENABLE();
  HAL_PWREx_EnableVddIO2();
  __HAL_RCC_GPIOB_CLK_ENABLE();

  /*Configure GPIO pin Output Level */
  HAL_GPIO_WritePin(do_sdc_hs_GPIO_Port, do_sdc_hs_Pin, GPIO_PIN_RESET);

  /*Configure GPIO pin Output Level */
  HAL_GPIO_WritePin(GPIOG, CSN_Pin|CE_Pin, GPIO_PIN_RESET);

  /*Configure GPIO pin : do_sdc_hs_Pin */
  GPIO_InitStruct.Pin = do_sdc_hs_Pin;
  GPIO_InitStruct.Mode = GPIO_MODE_OUTPUT_PP;
  GPIO_InitStruct.Pull = GPIO_NOPULL;
  GPIO_InitStruct.Speed = GPIO_SPEED_FREQ_LOW;
  HAL_GPIO_Init(do_sdc_hs_GPIO_Port, &GPIO_InitStruct);

  /*Configure GPIO pin : di_SD_Detect_Pin */
  GPIO_InitStruct.Pin = di_SD_Detect_Pin;
  GPIO_InitStruct.Mode = GPIO_MODE_INPUT;
  GPIO_InitStruct.Pull = GPIO_NOPULL;
  HAL_GPIO_Init(di_SD_Detect_GPIO_Port, &GPIO_InitStruct);

  /*Configure GPIO pins : CSN_Pin CE_Pin */
  GPIO_InitStruct.Pin = CSN_Pin|CE_Pin;
  GPIO_InitStruct.Mode = GPIO_MODE_OUTPUT_PP;
  GPIO_InitStruct.Pull = GPIO_NOPULL;
  GPIO_InitStruct.Speed = GPIO_SPEED_FREQ_LOW;
  HAL_GPIO_Init(GPIOG, &GPIO_InitStruct);

  /*Configure GPIO pin : IRQ_Pin */
  GPIO_InitStruct.Pin = IRQ_Pin;
  GPIO_InitStruct.Mode = GPIO_MODE_IT_RISING;
  GPIO_InitStruct.Pull = GPIO_NOPULL;
  HAL_GPIO_Init(IRQ_GPIO_Port, &GPIO_InitStruct);

  /* EXTI interrupt init*/
  HAL_NVIC_SetPriority(EXTI15_10_IRQn, 5, 0);
  HAL_NVIC_EnableIRQ(EXTI15_10_IRQn);

}

/* USER CODE BEGIN 4 */

float brakePressureSensitivityFactorAt5V = 0.00952;
//3.300000
float brakePressureOffsetFactor_uV = 0.52;
int32_t stearRaw = 0;
int32_t stearMidRaw = 2172;
float maxStearValue = 11.5;

void HAL_ADC_ConvCpltCallback(ADC_HandleTypeDef *hadc) {
	if (hadc->Instance == hadc2.Instance) {
		watterTemp1.raw = adc_buff1[0];
		watterTemp1.voltage = watterTemp1.raw * vrefCoef;
		float tempRes = Res1 / ((InputVoltage / watterTemp1.voltage) - 1.f);
		watterTemp1.value = WaterTemp_COEFICIENT * log(tempRes)
				+ WaterTemp_VACANT_MEMBER; // log - logarithm with base e

		watterTemp2.raw = adc_buff1[1];
		watterTemp2.voltage = watterTemp2.raw * vrefCoef;
		tempRes = Res1 / ((InputVoltage / watterTemp1.voltage) - 1.f);
		watterTemp2.value = WaterTemp_COEFICIENT * log(tempRes)
				+ WaterTemp_VACANT_MEMBER; // log - logarithm with base e

		watterPress1.raw = adc_buff1[2];
		watterPress1.voltage = watterPress1.raw * vrefCoef;

		watterPress2.raw = adc_buff1[3];
		watterPress2.voltage = watterPress2.raw * vrefCoef;
	} else {
		apps1.raw = adc_buff2[0];
		apps1.voltage = apps1.raw * vrefCoef;

		apps2.raw = adc_buff2[1];
		apps2.voltage = apps2.raw * vrefCoef;

		brakePress.raw = adc_buff2[2];
		brakePress.voltage = brakePress.raw * vrefCoef * 2;
		brakePress.value = (brakePress.voltage - brakePressureOffsetFactor_uV)
				/ brakePressureSensitivityFactorAt5V;

		stearRaw = adc_buff2[3] - 500;
		stearingAng.raw = stearRaw;
		stearingAng.voltage = stearingAng.raw * vrefCoef;
		stearingAng.value = (float) ((int32_t) stearingAng.raw - stearMidRaw)
				/ maxStearValue;
		if (stearRaw < 0) {
			stearingAng.raw = stearRaw + 2800 + 500; // Nastavljeno s testom
			stearingAng.value = ((float) ((int32_t) stearingAng.raw
					- stearMidRaw) / maxStearValue) * 1.0752689;
		}
		stearingAng.value-=10;
		if(stearingAng.value<-150){
			stearingAng.value=103;
		}
	}
}

void HAL_TIM_PeriodElapsedCallback(TIM_HandleTypeDef *htim) {
	if (htim == &htim15) {
		secondsCounter++;
	} else if (htim == &htim8) {
		// tim8 - 100Hz
		logNext = 1;

		if (dashSentCounter == 0) {
			dashSentCounter = 1;
			SendCanMsg1(
					CreateSendBrakeWater(apps1.raw, brakePress.value,
							watterTemp1.value, watterPress1.raw));
		} else {
			dashSentCounter = 0;
			SendCanMsg1(CreateSendMotorInverter(inverterTemp, motorTemp));
		}

		SendCanMsg1(CreateSendCellDataRequest());
	}
}
CAN_RxHeaderTypeDef RxHeader;
CanPayload RxData;

void HAL_CAN_RxFifo0MsgPendingCallback(CAN_HandleTypeDef *hcan) {

	if (HAL_CAN_GetRxMessage(hcan, CAN_RX_FIFO0, &RxHeader, RxData.bytes)
			!= HAL_OK) {
		return;
	}
	if (RxHeader.RTR == CAN_RTR_DATA) {
		if (RxHeader.StdId == 0x103) {
			lvVoltage = (float) RxData.uints[0] / 10000.0f;

		} else if (RxHeader.StdId == 0x101) {
			minLvCellVoltage = (float) (RxData.uints[0]) / 10000.0f;
			maxLvCellTemp = (float) RxData.uints[1] / 1000.0f;
		}

		else if (RxHeader.StdId == 0x011) {
			minHvCellVoltage = (float) RxData.shorts[0];
			maxHvCellTemp = (float) RxData.shorts[1];
//		} else if (RxHeader.StdId == 0x013) {
		} else if (RxHeader.StdId == 0x7ff) {
			hvVoltage = (float) RxData.shorts[0];
			hv_current = (float) RxData.shorts[1];
		} else if (RxHeader.StdId == 0x012) {
			uint8_t newAp = 0;
			uint8_t newAm = 0;
			AIRpRaw = RxData.uints[0];
			AIRmRaw = RxData.uints[1];

			if (AIRpRaw < 220 && AIRpRaw > 100) {
				newAp = 1;
			} else if (AIRpRaw >= 220) {
				newAp = 2;
			} else {
				newAp = 2;
			}

			if (newAp != AIRpPos) {
				AIRpPos = newAp;
				logAIRs = 1;
			}

			if (AIRmRaw < 220 && AIRmRaw > 100) {
				newAm = 1;
			} else if (AIRmRaw >= 220) {
				newAm = 2;
			} else {
				newAm = 2;
			}

			if (newAm != AIRmPos) {
				AIRmPos = newAm;
				logAIRs = 1;
			}
		} else if (RxHeader.StdId >= 0x700 && RxHeader.StdId <= (0x700 + 11)) {
			uint8_t group = RxHeader.StdId - 0x700;
			for (uint8_t i = 0; i < 8; i++) {
				hv_cells[i + 8 * group] = (float) (RxData.bytes[i] + 200)
						/ 100.0f;
			}
			if (RxHeader.StdId == (0x700 + 11)) {
				logHV_Cells = 1;
			}

		} else if (RxHeader.StdId == 0x202) {
			longitude = RxData.floats[0];
			latitude = RxData.floats[1];
		}
	}
}

void HAL_CAN_RxFifo1MsgPendingCallback(CAN_HandleTypeDef *hcan) {

	if (HAL_CAN_GetRxMessage(hcan, CAN_RX_FIFO1, &RxHeader, RxData.bytes)
			!= HAL_OK) {
		return;
	}

	if (RxHeader.StdId == 0x281) {
		inverterTemp = RxData.floats[0];
		motorTemp = RxData.floats[1];
	} else if (RxHeader.StdId == 0x301) {
		apps1.value = RxData.floats[0];
	}
}
HAL_StatusTypeDef canRes = HAL_OK;

/* USER CODE END 4 */

void StartDefaultTask(void *argument)
{
  for(;;)
  {
    osDelay(1);
  }
}

void Error_Handler(void)
{
  __disable_irq();
  while (1)
  {
  }
}

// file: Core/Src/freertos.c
/* USER CODE BEGIN Header */
/**
  ******************************************************************************
  * File Name          : freertos.c
  * Description        : Code for freertos applications
  ******************************************************************************
  * @attention
  *
  * Copyright (c) 2025 STMicroelectronics.
  * All rights reserved.
  *
  * This software is licensed under terms that can be found in the LICENSE file
  * in the root directory of this software component.
  * If no LICENSE file comes with this software, it is provided AS-IS.
  *
  ******************************************************************************
  */
/* USER CODE END Header */

#include "FreeRTOS.h"
#include "task.h"
#include "main.h"

/* USER CODE BEGIN FunctionPrototypes */
void StartLoggingTask(void *argument);
void StartNRFTask(void *argument);
/* USER CODE END FunctionPrototypes */

/* USER CODE BEGIN Application */

void StartLoggingTask(void *argument) {
	for (;;) {
		if (loggingStarted == 0) {
			loggingRes = initLogging(logFileName, &fs);
			if (loggingRes == FR_OK) {
				loggingStarted = 1;
			}
		}

		if (logNext == 1) {
			if (loggingCounter % 10 == 0) {
				if (writeErrorCounter < 45 && loggingStarted == 1) {
					loggingRes = LogGasPedal(&fs, &htim15, logFileName,
							apps1.raw, apps2.raw, apps1.value);
				}
			} else if ((loggingCounter - 1) % 10 == 0) {
				if (writeErrorCounter < 45 && loggingStarted == 1) {
					loggingRes = LogData(&fs, &htim15, logFileName,
							"brake_pressure", brakePress.value);
				}
			} else if ((loggingCounter - 2) % 10 == 0) {
				if (writeErrorCounter < 45 && loggingStarted == 1) {
					loggingRes = LogData(&fs, &htim15, logFileName,
							"steering_wheel", stearingAng.value);
				}
			} else if ((loggingCounter - 3) % 10 == 0) {
				if (writeErrorCounter < 20 && loggingStarted == 1) {
					loggingRes = LogWaterSensors(&fs, &htim15, logFileName,
							watterTemp1.value, watterTemp2.value,
							watterPress1.value, watterPress2.value);
				}
			} else if ((loggingCounter - 4) % 10 == 0) {
				if (writeErrorCounter < 45 && loggingStarted == 1) {
					loggingRes = LogHvBattery(&fs, &htim15, logFileName,
							maxHvCellTemp, minHvCellVoltage, hvVoltage);
				}
			} else if ((loggingCounter - 5) % 10 == 0) {
				if (writeErrorCounter < 45 && loggingStarted == 1) {
					loggingRes = LogLvBattery(&fs, &htim15, logFileName,
							maxLvCellTemp, minLvCellVoltage, lvVoltage);
				}
			} else if ((loggingCounter - 6) % 10 == 0) {
				if (writeErrorCounter < 45 && loggingStarted == 1) {
					loggingRes = LogData(&fs, &htim15, logFileName, "current",
							hv_current);
				}
			} else if ((loggingCounter - 7) % 10 == 0) {
				if (writeErrorCounter < 20 && loggingStarted == 1) {
					loggingRes = LogGPS(&fs, &htim15, logFileName, latitude,
							longitude, altitude, gpsSpeed, heading);
				}
			}

			if (writeErrorCounter < 45 && logAIRs == 1 && loggingStarted == 1) {
				loggingRes = LogAIRs(&fs, &htim15, logFileName, AIRpPos,
						AIRmPos);
				logAIRs = 0;
			}
			if (writeErrorCounter < 45 && logHV_Cells == 1
					&& loggingStarted == 1) {
				loggingRes = LogHvBatteryCells(&fs, &htim15, logFileName,
						hv_cells);
				logHV_Cells = 0;
			}

			loggingCounter++;
			if (loggingCounter > 100) {
				loggingCounter = 0;
			}

			if (loggingRes != FR_OK) {
				writeErrorCounter++;
			} else {
				writeErrorCounter = 0;
			}

			if (writeErrorCounter > 50) {
				loggingStarted = 0;
			}
			logNext = 0;
		}

		if (secondsCounter > 600) {
			NVIC_SystemReset();
		}

		osDelay(10); // 100Hz
	}
}

void StartNRFTask(void *argument) {
	float torque = 1.1;
	float airmFloat = 1.1;
	float airpFloat = 1.1;
	uint8_t pnum = 0;

	for (;;) {
		if (__HAL_TIM_GET_COUNTER(&htim17) >= 25) { // 10Hz
			pnum++;
			tx_completed = 0;
			if (pnum < 4) {
				rf_payload[3] = 0x00;
				memcpy(&rf_payload[4], &altitude, sizeof(float));
				memcpy(&rf_payload[8], &gpsSpeed, sizeof(float));
				memcpy(&rf_payload[12], &hv_current, sizeof(float));
				memcpy(&rf_payload[16], &latitude, sizeof(float));
				memcpy(&rf_payload[20], &longitude, sizeof(float));
				memcpy(&rf_payload[24], &directon, sizeof(float));
				memcpy(&rf_payload[28], &torque, sizeof(float));
				NRF_Upload_Payload(rf_payload, 32);
				CE_Pulse();
			} else if (pnum == 4) {
				rf_payload[3] = 0x02;
				airmFloat = (float)AIRmPos;
				airpFloat = (float)AIRpPos;
				memcpy(&rf_payload[4], &motorTemp, sizeof(float));
				memcpy(&rf_payload[8], &inverterTemp, sizeof(float));
				memcpy(&rf_payload[12], &stearingAng.value, sizeof(float));
				memcpy(&rf_payload[16], &airmFloat, sizeof(float));
				memcpy(&rf_payload[20], &airpFloat, sizeof(float));
				memcpy(&rf_payload[24], &watterTemp1.value, sizeof(float));
				memcpy(&rf_payload[28], &watterPress1.value, sizeof(float));
				NRF_Upload_Payload(rf_payload, 32);
				CE_Pulse();
			} else {
				pnum = 0;
				torque = (float) apps1.raw;
				rf_payload[3] = 0x01;
				memcpy(&rf_payload[4], &maxHvCellTemp, sizeof(float));
				memcpy(&rf_payload[8], &minHvCellVoltage, sizeof(float));
				memcpy(&rf_payload[12], &maxLvCellTemp, sizeof(float));
				memcpy(&rf_payload[16], &minLvCellVoltage, sizeof(float));
				memcpy(&rf_payload[20], &watterTemp1.value, sizeof(float));
				memcpy(&rf_payload[24], &brakePress.value, sizeof(float));
				memcpy(&rf_payload[28], &apps1.value, sizeof(float));
				NRF_Upload_Payload(rf_payload, 32);
				CE_Pulse();
			}

			TIM17->CNT = 0;
		}

		osDelay(100); // 10Hz
	}
}

/* USER CODE END Application */
